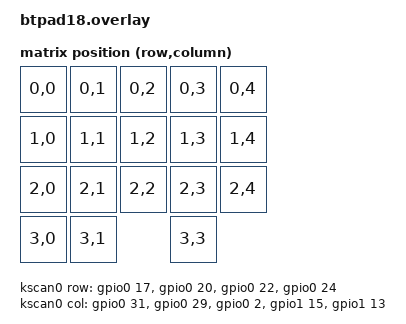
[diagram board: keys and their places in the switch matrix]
#include <dt-bindings/zmk/matrix_transform.h>
#include <dt-bindings/led/led.h>

&pinctrl {
    spi3_default: spi3_default {
        group1 {
            psels = <NRF_PSEL(SPIM_MOSI, 0, 9)>;
        };
    };
    spi3_sleep: spi3_sleep {
        group1 {
            psels = <NRF_PSEL(SPIM_MOSI, 0, 9)>;
            low-power-enable;
        };
    };
};

&spi3 {
  compatible = "nordic,nrf-spim";
  status = "okay";
  pinctrl-0 = <&spi3_default>;
  pinctrl-1 = <&spi3_sleep>;
  pinctrl-names = "default", "sleep";

  smartled: ws2812@0 {
    compatible = "worldsemi,ws2812-spi";
    reg = <0>;
	label = "WS2812";    
    spi-max-frequency = <4000000>;
    chain-length = <1>;
    spi-one-frame = <0x70>;
    spi-zero-frame = <0x40>;
    color-mapping = <LED_COLOR_ID_GREEN LED_COLOR_ID_RED LED_COLOR_ID_BLUE>;
  };
};

/ {
    aliases {
        smartled = &smartled;
    };

    chosen {
        zmk,kscan = &kscan0;
        zmk,matrix_transform = &default_transform;
		zmk,underglow = &smartled;
    };

    default_transform: keymap_transform_0 {
        compatible = "zmk,matrix-transform";
        columns = <5>;
        rows = <4>;
        map = <
        RC(0,0) RC(0,1) RC(0,2) RC(0,3) RC(0,4)
        RC(1,0) RC(1,1) RC(1,2) RC(1,3) RC(1,4)
        RC(2,0) RC(2,1) RC(2,2) RC(2,3) RC(2,4)
        RC(3,0) RC(3,1)         RC(3,3) 
        >;
    };

    kscan0: kscan_0 {
        compatible = "zmk,kscan-gpio-matrix";
        label = "KSCAN";
        diode-direction = "col2row";
        col-gpios = <&gpio0 31 GPIO_ACTIVE_HIGH>
				  , <&gpio0 29 GPIO_ACTIVE_HIGH>
				  , <&gpio0  2 GPIO_ACTIVE_HIGH>
				  , <&gpio1 15 GPIO_ACTIVE_HIGH>
				  , <&gpio1 13 GPIO_ACTIVE_HIGH>
				  ;
        row-gpios = <&gpio0 17  (GPIO_ACTIVE_HIGH | GPIO_PULL_DOWN)>
				  , <&gpio0 20  (GPIO_ACTIVE_HIGH | GPIO_PULL_DOWN)>
				  , <&gpio0 22 (GPIO_ACTIVE_HIGH | GPIO_PULL_DOWN)>
				  , <&gpio0 24 (GPIO_ACTIVE_HIGH | GPIO_PULL_DOWN)>
				  ;
    };
};
